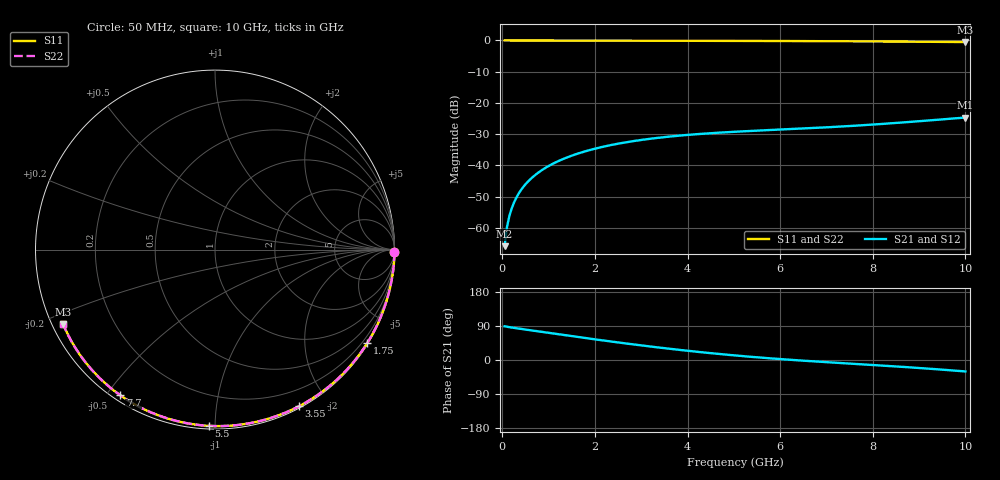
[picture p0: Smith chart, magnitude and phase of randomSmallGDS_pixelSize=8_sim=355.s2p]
! freq	dB(S11)	phase(S11)	dB(S12)	phase(S12)
!  dB(S21)	phase(S21)	dB(S22)	phase(S22)
!S-par simulation data
#  GHz  S  DB  R 50
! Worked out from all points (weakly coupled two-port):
!   200 points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, 50 MHz to 10 GHz, reference 50 ohm
!   highest |S21| = -24.69 dB at 10 GHz (marker M1); lowest = -65.9 dB at 50 MHz (marker M2)
!   lowest |S11| = -0.5 dB at 10 GHz (marker M3), VSWR 33.97, Z = 1.55 - j11.6 ohm
!   |S11| at or under -10 dB: nowhere
!   |S22| runs from -0.5 to 0.0 dB; largest |S21 - S12| = 0
!   S11 on the Smith chart (normalised r, x): 50 MHz: open; 1.75 GHz: 0.03, -3.55; 3.55 GHz: 0.02, -1.67; 5.5 GHz: 0.02, -0.96; 7.7 GHz: 0.02, -0.54; 10 GHz: 0.03, -0.23
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0.05  -0.00 -0.9  -65.89 88.9  -65.89 88.9  -0.00 -0.9
0.1  -0.00 -1.8  -59.89 87.8  -59.89 87.8  -0.00 -1.8
0.15  -0.00 -2.7  -56.39 86.7  -56.39 86.7  -0.00 -2.7
0.2  -0.00 -3.7  -53.92 85.7  -53.92 85.7  -0.00 -3.7
0.25  -0.00 -4.6  -52.01 84.8  -52.01 84.8  -0.00 -4.6
0.35  -0.00 -6.4  -49.13 83.0  -49.13 83.0  -0.00 -6.4
0.5  -0.01 -9.1  -46.08 80.4  -46.08 80.4  -0.01 -9.1
0.7  -0.01 -12.7  -43.22 76.9  -43.22 76.9  -0.01 -12.7
1  -0.02 -18.1  -40.21 71.6  -40.21 71.6  -0.02 -18.1
1.35  -0.03 -24.4  -37.74 65.6  -37.74 65.6  -0.03 -24.4
1.75  -0.04 -31.4  -35.68 58.7  -35.68 58.7  -0.04 -31.4
2.5  -0.06 -44.4  -33.06 46.3  -33.06 46.3  -0.06 -44.4
3.4  -0.08 -59.4  -31.12 32.6  -31.12 32.6  -0.08 -59.5
3.55  -0.09 -61.9  -30.88 30.5  -30.88 30.5  -0.09 -61.9
4.3  -0.11 -73.9  -29.91 20.5  -29.91 20.5  -0.11 -73.9
5.05  -0.13 -85.4  -29.22 11.8  -29.22 11.8  -0.13 -85.4
5.5  -0.15 -92.1  -28.88 7.1  -28.88 7.1  -0.15 -92.1
6.7  -0.21 -109.3  -28.05 -3.4  -28.05 -3.4  -0.21 -109.3
7.7  -0.28 -123.0  -27.23 -10.9  -27.23 -10.9  -0.28 -123.0
8.35  -0.34 -131.8  -26.58 -15.8  -26.58 -15.8  -0.34 -131.8
9.2  -0.42 -143.1  -25.64 -22.8  -25.64 -22.8  -0.42 -143.2
10  -0.51 -153.9  -24.69 -30.2  -24.69 -30.2  -0.51 -153.9
